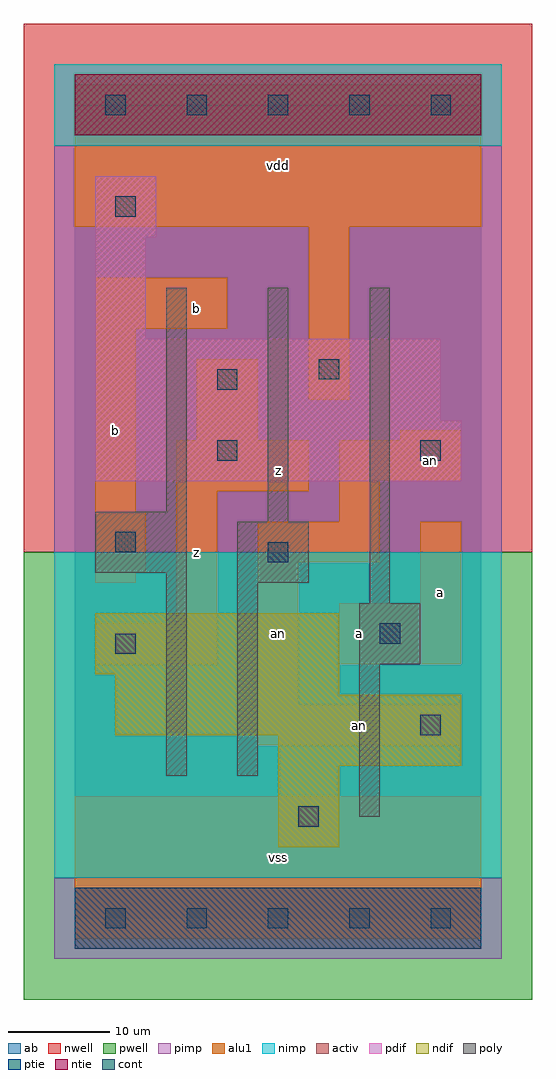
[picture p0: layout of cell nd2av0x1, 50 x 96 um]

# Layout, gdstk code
import gdstk
lib = gdstk.Library(unit=1e-6, precision=1e-09)
def R(c, l, rs):  # rectangles x0, y0, x1, y1
    for r in rs: c.add(gdstk.rectangle(r[:2], r[2:], *l))
def A(c, l, x, y, w, h, nx, ny, dx, dy):  # array of equal rectangles
    R(c, l, [(x+i*dx, y+j*dy, x+i*dx+w, y+j*dy+h) for i in range(nx) for j in range(ny)])
ndif = (3, 0)
pdif = (4, 0)
ntie = (5, 0)
ptie = (6, 0)
cont = (25, 0)
pwell = (41, 0)
nwell = (42, 0)
activ = (43, 0)
pimp = (44, 0)
nimp = (45, 0)
poly = (46, 0)
alu1 = (49, 0)
ab = (63, 0)

nd2av0x1 = lib.new_cell('nd2av0x1')
R(nd2av0x1, ndif, [(20,7,26,15), (20,15,38,18), (4,18,38,22), (4,22,26,24), (2,24,26,30)])
R(nd2av0x1, pdif, [(2,43,38,49), (2,49,36,57), (2,57,7,67), (2,67,8,73)])
R(nd2av0x1, ntie, [(0,77,40,83)])
R(nd2av0x1, ptie, [(0,-3,40,3)])
A(nd2av0x1, cont, 3, -1, 2, 2, 5, 2, 8, 80)
R(nd2av0x1, cont, [(22,9,24,11), (34,18,36,20), (4,26,6,28), (30,27,32,29), (19,35,21,37), (4,36,6,38), (14,45,16,47), (34,45,36,47), (14,52,16,54), (24,53,26,55), (4,69,6,71)])
R(nd2av0x1, pwell, [(-5,-8,45,36)])
R(nd2av0x1, nwell, [(-5,36,45,88)])
R(nd2av0x1, activ, [(0,-3,40,3), (20,7,26,15), (20,15,38,18), (4,18,38,22), (4,22,26,24), (2,24,26,30), (2,43,38,49), (2,49,36,57), (2,57,7,67), (2,67,8,73), (0,77,40,83)])
R(nd2av0x1, pimp, [(-2,-4,42,4), (-2,36,42,76)])
R(nd2av0x1, nimp, [(-2,4,42,36), (-2,76,42,84)])
R(nd2av0x1, poly, [(28,10,30,25), (9,14,11,34), (16,14,18,33), (28,25,34,31), (29,31,31,62), (16,33,23,39), (2,34,11,40), (19,39,21,62), (9,40,11,62)])
R(nd2av0x1, alu1, [(0,-2,40,12), (18,17,38,21), (18,21,22,35), (2,25,14,29), (26,25,38,31), (10,29,14,42), (34,31,38,39), (2,33,6,34), (2,34,7,40), (18,35,30,39), (26,39,30,43), (2,40,6,58), (10,42,23,47), (26,43,38,47), (12,47,18,55), (32,47,38,48), (23,51,27,68), (2,58,15,63), (0,68,40,82)])
R(nd2av0x1, ab, [(0,0,40,80)])
nd2av0x1.add(gdstk.Label('an', (20,28), layer=49, texttype=0))
nd2av0x1.add(gdstk.Label('an', (28,19), layer=49, texttype=0))
nd2av0x1.add(gdstk.Label('an', (35,45), layer=49, texttype=0))
nd2av0x1.add(gdstk.Label('b', (4,48), layer=49, texttype=0))
nd2av0x1.add(gdstk.Label('z', (12,36), layer=49, texttype=0))
nd2av0x1.add(gdstk.Label('b', (12,60), layer=49, texttype=0))
nd2av0x1.add(gdstk.Label('vss', (20,6), layer=49, texttype=0))
nd2av0x1.add(gdstk.Label('a', (28,28), layer=49, texttype=0))
nd2av0x1.add(gdstk.Label('z', (20,44), layer=49, texttype=0))
nd2av0x1.add(gdstk.Label('vdd', (20,74), layer=49, texttype=0))
nd2av0x1.add(gdstk.Label('a', (36,32), layer=49, texttype=0))

lib.write_gds('nd2av0x1.gds')
